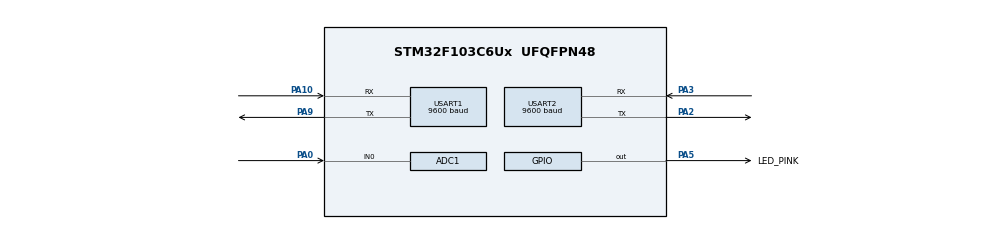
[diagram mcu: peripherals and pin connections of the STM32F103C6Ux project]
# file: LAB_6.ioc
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ADC1.Channel-0\#ChannelRegularConversion=ADC_CHANNEL_0
ADC1.ContinuousConvMode=ENABLE
ADC1.NbrOfConversionFlag=1
ADC1.Rank-0\#ChannelRegularConversion=1
ADC1.SamplingTime-0\#ChannelRegularConversion=ADC_SAMPLETIME_1CYCLE_5
ADC1.master=1
Mcu.Family=STM32F1
Mcu.Name=STM32F103C6Ux
Mcu.Package=UFQFPN48
NVIC.PriorityGroup=NVIC_PRIORITYGROUP_4
NVIC.USART1_IRQn=true\:0\:0\:false\:false\:true\:true\:true
NVIC.USART2_IRQn=true\:0\:0\:false\:false\:true\:true\:true
PA0-WKUP.Signal=ADCx_IN0
PA10.Mode=Asynchronous
PA10.Signal=USART1_RX
PA2.Mode=Asynchronous
PA2.Signal=USART2_TX
PA3.Mode=Asynchronous
PA3.Signal=USART2_RX
PA5.GPIO_Label=LED_PINK
PA5.Signal=GPIO_Output
PA9.Mode=Asynchronous
PA9.Signal=USART1_TX
ProjectManager.HeapSize=0x200
ProjectManager.StackSize=0x400
ProjectManager.TargetToolchain=STM32CubeIDE
RCC.APB1Freq_Value=8000000
RCC.APB2Freq_Value=8000000
SH.ADCx_IN0.0=ADC1_IN0,IN0
USART1.BaudRate=9600
USART1.VirtualMode=VM_ASYNC
USART2.BaudRate=9600
USART2.VirtualMode=VM_ASYNC
VP_SYS_VS_ND.Mode=No_Debug
board=custom

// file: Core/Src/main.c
/* USER CODE BEGIN Header */
/**
  ******************************************************************************
  * @file           : main.c
  * @brief          : Main program body
  ******************************************************************************
  * @attention
  *
  * <h2><center>&copy; Copyright (c) 2025 STMicroelectronics.
  * All rights reserved.</center></h2>
  *
  * This software component is licensed by ST under BSD 3-Clause license,
  * the "License"; You may not use this file except in compliance with the
  * License. You may obtain a copy of the License at:
  *                        opensource.org/licenses/BSD-3-Clause
  *
  ******************************************************************************
  */
/* USER CODE END Header */
#include "main.h"

/* USER CODE BEGIN Includes */
#include <stdio.h>
#include "command_parser_fsm.h"
#include "uart_communiation_fsm.h"
/* USER CODE END Includes */

ADC_HandleTypeDef hadc1;

UART_HandleTypeDef huart1;
UART_HandleTypeDef huart2;

/* USER CODE BEGIN PV */

uint8_t temp = 0;
uint8_t buffer[MAX_BUFFER_SIZE];
uint8_t index_buffer = 0;
uint8_t buffer_flag = 0;
/* USER CODE END PV */

void SystemClock_Config(void);
static void MX_GPIO_Init(void);
static void MX_ADC1_Init(void);
static void MX_USART2_UART_Init(void);
static void MX_USART1_UART_Init(void);

/* USER CODE BEGIN 0 */
void HAL_UART_RxCpltCallback(UART_HandleTypeDef *huart) {
    if (huart->Instance == USART2) {
        uint8_t ch = temp;
        if (ch == '#') { // # works as "enter" signal
            HAL_UART_Transmit(&huart2, &ch, 1, 50);
            buffer[index_buffer++] = '#';
            buffer_flag = 1;
        }
        else if (ch == 0x08 || ch == 0x7F) {
            if (index_buffer > 0) {
                index_buffer--;
                buffer[index_buffer] = '\0';
                uint8_t bs_seq[3] = { '\b', ' ', '\b' };
                HAL_UART_Transmit(&huart2, bs_seq, 3, 50);
            }
        }
        else if(ch == '!'){ // ! works as start signal
            memset(buffer, 0, sizeof(buffer));
            index_buffer = 0;
            buffer[index_buffer++] = ch;
            HAL_UART_Transmit(&huart2, &ch, 1, 50);
        }
        else {
            if (index_buffer < MAX_BUFFER_SIZE - 1) {
                buffer[index_buffer++] = ch;
                HAL_UART_Transmit(&huart2, &ch, 1, 50);
            }
        }
        HAL_UART_Receive_IT(&huart2, &temp, 1);
    }
}

/* USER CODE END 0 */

int main(void)
{

  /* MCU Configuration--------------------------------------------------------*/

  /* Reset of all peripherals, Initializes the Flash interface and the Systick. */
  HAL_Init();

  /* Configure the system clock */
  SystemClock_Config();

  /* Initialize all configured peripherals */
  MX_GPIO_Init();
  MX_ADC1_Init();
  MX_USART2_UART_Init();
  MX_USART1_UART_Init();
  /* USER CODE BEGIN 2 */
  HAL_UART_Receive_IT(&huart2, &temp, 1);
  HAL_ADC_Start(&hadc1);
  /* USER CODE END 2 */

  /* Infinite loop */
  /* USER CODE BEGIN WHILE */
  while (1)
  {
	  if( buffer_flag == 1) {
		  command_parser_fsm() ;
		  buffer_flag = 0;
	  }
	  uart_communiation_fsm() ;
    /* USER CODE END WHILE */

  }
}

void SystemClock_Config(void)
{
  RCC_OscInitTypeDef RCC_OscInitStruct = {0};
  RCC_ClkInitTypeDef RCC_ClkInitStruct = {0};
  RCC_PeriphCLKInitTypeDef PeriphClkInit = {0};

  /** Initializes the RCC Oscillators according to the specified parameters
  * in the RCC_OscInitTypeDef structure.
  */
  RCC_OscInitStruct.OscillatorType = RCC_OSCILLATORTYPE_HSI;
  RCC_OscInitStruct.HSIState = RCC_HSI_ON;
  RCC_OscInitStruct.HSICalibrationValue = RCC_HSICALIBRATION_DEFAULT;
  RCC_OscInitStruct.PLL.PLLState = RCC_PLL_NONE;
  if (HAL_RCC_OscConfig(&RCC_OscInitStruct) != HAL_OK)
  {
    Error_Handler();
  }
  /** Initializes the CPU, AHB and APB buses clocks
  */
  RCC_ClkInitStruct.ClockType = RCC_CLOCKTYPE_HCLK|RCC_CLOCKTYPE_SYSCLK
                              |RCC_CLOCKTYPE_PCLK1|RCC_CLOCKTYPE_PCLK2;
  RCC_ClkInitStruct.SYSCLKSource = RCC_SYSCLKSOURCE_HSI;
  RCC_ClkInitStruct.AHBCLKDivider = RCC_SYSCLK_DIV1;
  RCC_ClkInitStruct.APB1CLKDivider = RCC_HCLK_DIV1;
  RCC_ClkInitStruct.APB2CLKDivider = RCC_HCLK_DIV1;

  if (HAL_RCC_ClockConfig(&RCC_ClkInitStruct, FLASH_LATENCY_0) != HAL_OK)
  {
    Error_Handler();
  }
  PeriphClkInit.PeriphClockSelection = RCC_PERIPHCLK_ADC;
  PeriphClkInit.AdcClockSelection = RCC_ADCPCLK2_DIV2;
  if (HAL_RCCEx_PeriphCLKConfig(&PeriphClkInit) != HAL_OK)
  {
    Error_Handler();
  }
}

static void MX_ADC1_Init(void)
{

  ADC_ChannelConfTypeDef sConfig = {0};

  /** Common config
  */
  hadc1.Instance = ADC1;
  hadc1.Init.ScanConvMode = ADC_SCAN_DISABLE;
  hadc1.Init.ContinuousConvMode = ENABLE;
  hadc1.Init.DiscontinuousConvMode = DISABLE;
  hadc1.Init.ExternalTrigConv = ADC_SOFTWARE_START;
  hadc1.Init.DataAlign = ADC_DATAALIGN_RIGHT;
  hadc1.Init.NbrOfConversion = 1;
  if (HAL_ADC_Init(&hadc1) != HAL_OK)
  {
    Error_Handler();
  }
  /** Configure Regular Channel
  */
  sConfig.Channel = ADC_CHANNEL_0;
  sConfig.Rank = ADC_REGULAR_RANK_1;
  sConfig.SamplingTime = ADC_SAMPLETIME_1CYCLE_5;
  if (HAL_ADC_ConfigChannel(&hadc1, &sConfig) != HAL_OK)
  {
    Error_Handler();
  }

}

static void MX_USART1_UART_Init(void)
{

  huart1.Instance = USART1;
  huart1.Init.BaudRate = 9600;
  huart1.Init.WordLength = UART_WORDLENGTH_8B;
  huart1.Init.StopBits = UART_STOPBITS_1;
  huart1.Init.Parity = UART_PARITY_NONE;
  huart1.Init.Mode = UART_MODE_TX_RX;
  huart1.Init.HwFlowCtl = UART_HWCONTROL_NONE;
  huart1.Init.OverSampling = UART_OVERSAMPLING_16;
  if (HAL_UART_Init(&huart1) != HAL_OK)
  {
    Error_Handler();
  }

}

static void MX_USART2_UART_Init(void)
{

  huart2.Instance = USART2;
  huart2.Init.BaudRate = 9600;
  huart2.Init.WordLength = UART_WORDLENGTH_8B;
  huart2.Init.StopBits = UART_STOPBITS_1;
  huart2.Init.Parity = UART_PARITY_NONE;
  huart2.Init.Mode = UART_MODE_TX_RX;
  huart2.Init.HwFlowCtl = UART_HWCONTROL_NONE;
  huart2.Init.OverSampling = UART_OVERSAMPLING_16;
  if (HAL_UART_Init(&huart2) != HAL_OK)
  {
    Error_Handler();
  }

}

static void MX_GPIO_Init(void)
{
  GPIO_InitTypeDef GPIO_InitStruct = {0};

  /* GPIO Ports Clock Enable */
  __HAL_RCC_GPIOA_CLK_ENABLE();

  /*Configure GPIO pin Output Level */
  HAL_GPIO_WritePin(LED_PINK_GPIO_Port, LED_PINK_Pin, GPIO_PIN_RESET);

  /*Configure GPIO pin : LED_PINK_Pin */
  GPIO_InitStruct.Pin = LED_PINK_Pin;
  GPIO_InitStruct.Mode = GPIO_MODE_OUTPUT_PP;
  GPIO_InitStruct.Pull = GPIO_NOPULL;
  GPIO_InitStruct.Speed = GPIO_SPEED_FREQ_LOW;
  HAL_GPIO_Init(LED_PINK_GPIO_Port, &GPIO_InitStruct);

}

void Error_Handler(void)
{
  __disable_irq();
  while (1)
  {
  }
}

/************************ (C) COPYRIGHT STMicroelectronics *****END OF FILE****/
